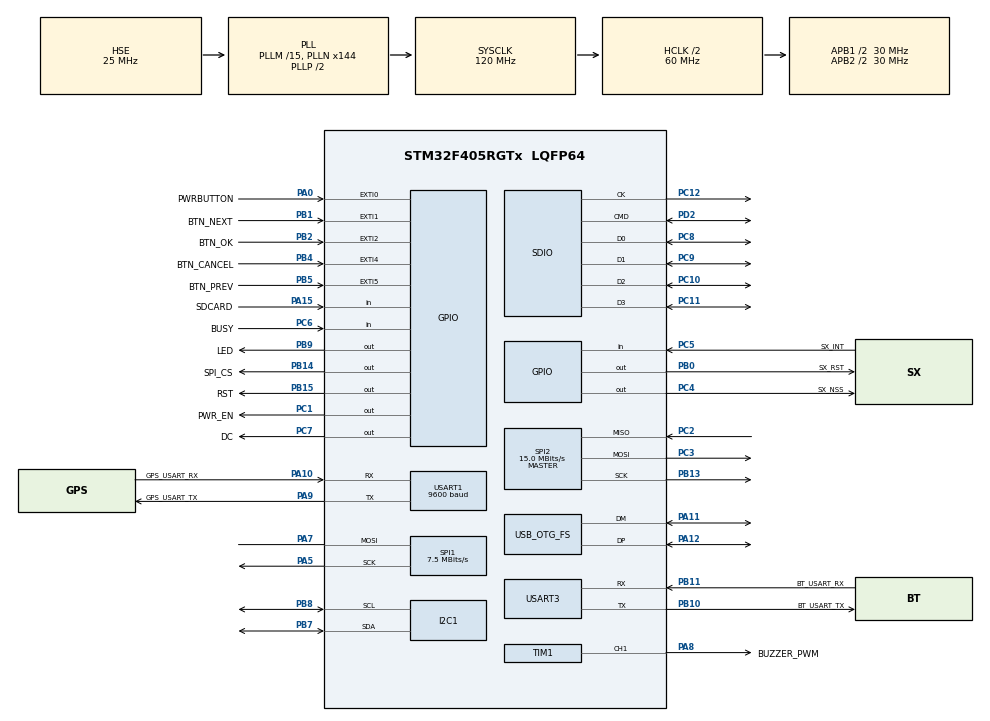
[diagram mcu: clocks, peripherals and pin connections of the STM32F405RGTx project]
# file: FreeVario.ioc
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ADC1.Channel-0\#ChannelRegularConversion=ADC_CHANNEL_VBAT
ADC1.ClockPrescaler=ADC_CLOCK_SYNC_PCLK_DIV2
ADC1.ContinuousConvMode=ENABLE
ADC1.EOCSelection=ADC_EOC_SEQ_CONV
ADC1.InjNumberOfConversion=0
ADC1.NbrOfConversionFlag=1
ADC1.Rank-0\#ChannelRegularConversion=1
ADC1.SamplingTime-0\#ChannelRegularConversion=ADC_SAMPLETIME_3CYCLES
ADC1.master=1
Dma.Request0=USART3_TX
Dma.Request1=SDIO_RX
Dma.Request2=SDIO_TX
Dma.Request3=USART1_RX
Dma.SDIO_RX.1.Direction=DMA_PERIPH_TO_MEMORY
Dma.SDIO_RX.1.FIFOMode=DMA_FIFOMODE_ENABLE
Dma.SDIO_RX.1.FIFOThreshold=DMA_FIFO_THRESHOLD_FULL
Dma.SDIO_RX.1.Instance=DMA2_Stream3
Dma.SDIO_RX.1.MemBurst=DMA_MBURST_INC4
Dma.SDIO_RX.1.MemDataAlignment=DMA_MDATAALIGN_WORD
Dma.SDIO_RX.1.MemInc=DMA_MINC_ENABLE
Dma.SDIO_RX.1.Mode=DMA_PFCTRL
Dma.SDIO_RX.1.PeriphBurst=DMA_PBURST_INC4
Dma.SDIO_RX.1.PeriphDataAlignment=DMA_PDATAALIGN_WORD
Dma.SDIO_RX.1.PeriphInc=DMA_PINC_DISABLE
Dma.SDIO_RX.1.Priority=DMA_PRIORITY_LOW
Dma.SDIO_TX.2.Direction=DMA_MEMORY_TO_PERIPH
Dma.SDIO_TX.2.FIFOMode=DMA_FIFOMODE_ENABLE
Dma.SDIO_TX.2.FIFOThreshold=DMA_FIFO_THRESHOLD_FULL
Dma.SDIO_TX.2.Instance=DMA2_Stream6
Dma.SDIO_TX.2.MemBurst=DMA_MBURST_INC4
Dma.SDIO_TX.2.MemDataAlignment=DMA_MDATAALIGN_WORD
Dma.SDIO_TX.2.MemInc=DMA_MINC_ENABLE
Dma.SDIO_TX.2.Mode=DMA_PFCTRL
Dma.SDIO_TX.2.PeriphBurst=DMA_PBURST_INC4
Dma.SDIO_TX.2.PeriphDataAlignment=DMA_PDATAALIGN_WORD
Dma.SDIO_TX.2.PeriphInc=DMA_PINC_DISABLE
Dma.SDIO_TX.2.Priority=DMA_PRIORITY_LOW
Dma.USART1_RX.3.Direction=DMA_PERIPH_TO_MEMORY
Dma.USART1_RX.3.FIFOMode=DMA_FIFOMODE_DISABLE
Dma.USART1_RX.3.Instance=DMA2_Stream2
Dma.USART1_RX.3.MemDataAlignment=DMA_MDATAALIGN_BYTE
Dma.USART1_RX.3.MemInc=DMA_MINC_ENABLE
Dma.USART1_RX.3.Mode=DMA_NORMAL
Dma.USART1_RX.3.PeriphDataAlignment=DMA_PDATAALIGN_BYTE
Dma.USART1_RX.3.PeriphInc=DMA_PINC_DISABLE
Dma.USART1_RX.3.Priority=DMA_PRIORITY_LOW
Dma.USART3_TX.0.Direction=DMA_MEMORY_TO_PERIPH
Dma.USART3_TX.0.FIFOMode=DMA_FIFOMODE_DISABLE
Dma.USART3_TX.0.Instance=DMA1_Stream3
Dma.USART3_TX.0.MemDataAlignment=DMA_MDATAALIGN_BYTE
Dma.USART3_TX.0.MemInc=DMA_MINC_ENABLE
Dma.USART3_TX.0.Mode=DMA_NORMAL
Dma.USART3_TX.0.PeriphDataAlignment=DMA_PDATAALIGN_BYTE
Dma.USART3_TX.0.PeriphInc=DMA_PINC_DISABLE
Dma.USART3_TX.0.Priority=DMA_PRIORITY_LOW
FATFS.BSP.number=1
FATFS._FS_LOCK=5
FATFS._USE_LFN=3
FATFS0.BSP.STBoard=false
FATFS0.BSP.api=Unknown
FATFS0.BSP.i2caddr=0
FATFS0.BSP.instance=PA15
FATFS0.BSP.ip=GPIO
FATFS0.BSP.mode=Input
FATFS0.BSP.name=Detect_SDIO
FATFS0.BSP.solution=PA15
FREERTOS.INCLUDE_vTaskDelayUntil=1
FREERTOS.Tasks01=defaultTask,0,1024,StartDefaultTask,As weak,NULL,Dynamic,NULL,NULL
FREERTOS.configMINIMAL_STACK_SIZE=2048
FREERTOS.configTICK_RATE_HZ=1000
FREERTOS.configTOTAL_HEAP_SIZE=84000
I2C1.I2C_Mode=I2C_Fast
Mcu.Family=STM32F4
Mcu.Name=STM32F405RGTx
Mcu.Package=LQFP64
NVIC.DMA1_Stream3_IRQn=true\:5\:0\:false\:false\:true\:true\:false
NVIC.DMA2_Stream2_IRQn=true\:5\:0\:false\:false\:true\:true\:false
NVIC.DMA2_Stream3_IRQn=true\:5\:0\:false\:false\:true\:true\:false
NVIC.DMA2_Stream6_IRQn=true\:5\:0\:false\:false\:true\:true\:false
NVIC.EXTI0_IRQn=true\:5\:0\:false\:false\:true\:true\:true
NVIC.EXTI1_IRQn=true\:5\:0\:false\:false\:true\:true\:true
NVIC.EXTI2_IRQn=true\:5\:0\:false\:false\:true\:true\:true
NVIC.EXTI4_IRQn=true\:5\:0\:false\:false\:true\:true\:true
NVIC.EXTI9_5_IRQn=true\:5\:0\:false\:false\:true\:true\:true
NVIC.OTG_FS_IRQn=true\:5\:0\:false\:false\:true\:true\:false
NVIC.PriorityGroup=NVIC_PRIORITYGROUP_4
NVIC.SDIO_IRQn=true\:5\:0\:false\:false\:true\:true\:true
NVIC.TIM1_UP_TIM10_IRQn=true\:0\:0\:false\:false\:true\:false\:false
NVIC.TIM5_IRQn=true\:0\:0\:false\:false\:true\:false\:false
NVIC.TimeBase=TIM5_IRQn
NVIC.TimeBaseIP=TIM5
NVIC.USART1_IRQn=true\:5\:0\:false\:false\:true\:true\:true
NVIC.USART3_IRQn=true\:5\:0\:false\:false\:true\:true\:true
PA0-WKUP.GPIO_Label=PWRBUTTON
PA0-WKUP.Signal=GPXTI0
PA10.GPIO_Label=GPS_USART_RX
PA10.Mode=Asynchronous
PA10.Signal=USART1_RX
PA11.Mode=Device_Only
PA11.Signal=USB_OTG_FS_DM
PA12.Mode=Device_Only
PA12.Signal=USB_OTG_FS_DP
PA13.Mode=Serial_Wire
PA13.Signal=SYS_JTMS-SWDIO
PA14.Mode=Serial_Wire
PA14.Signal=SYS_JTCK-SWCLK
PA15.GPIO_Label=SDCARD
PA15.Signal=GPIO_Input
PA5.Mode=Simplex_Bidirectional_Master
PA5.Signal=SPI1_SCK
PA7.Mode=Simplex_Bidirectional_Master
PA7.Signal=SPI1_MOSI
PA8.GPIO_Label=BUZZER_PWM
PA8.GPIO_PuPd=GPIO_NOPULL
PA8.Signal=S_TIM1_CH1
PA9.GPIO_Label=GPS_USART_TX
PA9.Mode=Asynchronous
PA9.Signal=USART1_TX
PB0.GPIO_Label=SX_RST
PB0.PinState=GPIO_PIN_SET
PB0.Signal=GPIO_Output
PB1.GPIO_Label=BTN_NEXT
PB1.Signal=GPXTI1
PB10.GPIO_Label=BT_USART_TX
PB10.Mode=Asynchronous
PB10.Signal=USART3_TX
PB11.GPIO_Label=BT_USART_RX
PB11.Mode=Asynchronous
PB11.Signal=USART3_RX
PB13.Mode=Full_Duplex_Master
PB13.Signal=SPI2_SCK
PB14.GPIO_Label=SPI_CS
PB14.Signal=GPIO_Output
PB15.GPIO_Label=RST
PB15.Signal=GPIO_Output
PB2.GPIO_Label=BTN_OK
PB2.Signal=GPXTI2
PB4.GPIO_Label=BTN_CANCEL
PB4.Signal=GPXTI4
PB5.GPIO_Label=BTN_PREV
PB5.Signal=GPXTI5
PB7.Mode=I2C
PB7.Signal=I2C1_SDA
PB8.Mode=I2C
PB8.Signal=I2C1_SCL
PB9.GPIO_Label=LED
PB9.Signal=GPIO_Output
PC1.GPIO_Label=PWR_EN
PC1.GPIO_ModeDefaultOutputPP=GPIO_MODE_OUTPUT_PP
PC1.GPIO_PuPd=GPIO_PULLUP
PC1.PinState=GPIO_PIN_RESET
PC1.Signal=GPIO_Output
PC10.Mode=SD_4_bits_Wide_bus
PC10.Signal=SDIO_D2
PC11.Mode=SD_4_bits_Wide_bus
PC11.Signal=SDIO_D3
PC12.Mode=SD_4_bits_Wide_bus
PC12.Signal=SDIO_CK
PC14-OSC32_IN.Mode=LSE-External-Oscillator
PC14-OSC32_IN.Signal=RCC_OSC32_IN
PC15-OSC32_OUT.Mode=LSE-External-Oscillator
PC15-OSC32_OUT.Signal=RCC_OSC32_OUT
PC2.Mode=Full_Duplex_Master
PC2.Signal=SPI2_MISO
PC3.Mode=Full_Duplex_Master
PC3.Signal=SPI2_MOSI
PC4.GPIO_Label=SX_NSS
PC4.GPIO_PuPd=GPIO_NOPULL
PC4.PinState=GPIO_PIN_RESET
PC4.Signal=GPIO_Output
PC5.GPIO_Label=SX_INT
PC5.Signal=GPIO_Input
PC6.GPIO_Label=BUSY
PC6.Signal=GPIO_Input
PC7.GPIO_Label=DC
PC7.Signal=GPIO_Output
PC8.GPIO_PuPd=GPIO_PULLUP
PC8.Mode=SD_4_bits_Wide_bus
PC8.Signal=SDIO_D0
PC9.Mode=SD_4_bits_Wide_bus
PC9.Signal=SDIO_D1
PD2.GPIO_PuPd=GPIO_PULLUP
PD2.Mode=SD_4_bits_Wide_bus
PD2.Signal=SDIO_CMD
PH0-OSC_IN.Mode=HSE-External-Oscillator
PH0-OSC_IN.Signal=RCC_OSC_IN
PH1-OSC_OUT.Mode=HSE-External-Oscillator
PH1-OSC_OUT.Signal=RCC_OSC_OUT
ProjectManager.HeapSize=0x4000
ProjectManager.StackSize=0x800
ProjectManager.TargetToolchain=TrueSTUDIO
RCC.48MHZClocksFreq_Value=48000000
RCC.AHBCLKDivider=RCC_SYSCLK_DIV2
RCC.AHBFreq_Value=60000000
RCC.APB1CLKDivider=RCC_HCLK_DIV2
RCC.APB1Freq_Value=30000000
RCC.APB1TimFreq_Value=60000000
RCC.APB2CLKDivider=RCC_HCLK_DIV2
RCC.APB2Freq_Value=30000000
RCC.APB2TimFreq_Value=60000000
RCC.CortexFreq_Value=60000000
RCC.HCLKFreq_Value=60000000
RCC.HSE_VALUE=25000000
RCC.HSI_VALUE=16000000
RCC.PLLI2SN=50
RCC.PLLM=15
RCC.PLLN=144
RCC.PLLQ=5
RCC.RCC_RTC_Clock_Source=RCC_RTCCLKSOURCE_LSI
RCC.RCC_RTC_Clock_SourceVirtual=RCC_RTCCLKSOURCE_LSE
RCC.SYSCLKFreq_VALUE=120000000
RCC.SYSCLKSource=RCC_SYSCLKSOURCE_PLLCLK
RCC.VCOOutputFreq_Value=240000000
RTC.Hours=17
RTC.Minutes=20
RTC.Month=RTC_MONTH_FEBRUARY
RTC.StoreOperation=RTC_STOREOPERATION_SET
RTC.Year=19
SH.S_TIM1_CH1.0=TIM1_CH1,PWM Generation1 CH1
SPI1.BaudRatePrescaler=SPI_BAUDRATEPRESCALER_4
SPI1.CalculateBaudRate=7.5 MBits/s
SPI1.Direction=SPI_DIRECTION_1LINE
SPI1.Mode=SPI_MODE_MASTER
SPI1.VirtualType=VM_MASTER
SPI2.BaudRatePrescaler=SPI_BAUDRATEPRESCALER_2
SPI2.CalculateBaudRate=15.0 MBits/s
SPI2.Direction=SPI_DIRECTION_2LINES
SPI2.Mode=SPI_MODE_MASTER
SPI2.VirtualType=VM_MASTER
TIM1.BreakPolarity=TIM_BREAKPOLARITY_HIGH
TIM1.Channel-PWM\ Generation1\ CH1=TIM_CHANNEL_1
TIM1.OCIdleState_1=TIM_OCIDLESTATE_RESET
TIM1.OCPolarity_1=TIM_OCPOLARITY_HIGH
USART1.BaudRate=9600
USART1.VirtualMode=VM_ASYNC
USART3.VirtualMode=VM_ASYNC
USB_DEVICE.CLASS_NAME_FS=CDC
USB_DEVICE.VirtualMode-CDC_FS=Cdc
USB_DEVICE.VirtualModeFS=Cdc_FS
USB_OTG_FS.VirtualMode=Device_Only
VP_ADC1_Vbat_Input.Mode=IN-Vbat
VP_FATFS_VS_SDIO.Mode=SDIO
VP_FREERTOS_VS_ENABLE.Mode=Enabled
VP_RTC_VS_RTC_Activate.Mode=RTC_Enabled
VP_RTC_VS_RTC_Calendar.Mode=RTC_Calendar
VP_SYS_VS_tim5.Mode=TIM5
VP_TIM1_VS_ClockSourceINT.Mode=Internal
VP_TIM1_VS_ClockSourceITR.Mode=TriggerSource_ITR0
VP_USB_DEVICE_VS_USB_DEVICE_CDC_FS.Mode=CDC_FS
VP_WWDG_VS_WWDG.Mode=WWDG_Activate
WWDG.Counter=127
WWDG.Prescaler=WWDG_PRESCALER_8
WWDG.Window=127
board=custom

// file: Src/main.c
/* USER CODE BEGIN Header */
/**
  * @brief  Function implementing the defaultTask thread.
  * @param  argument: Not used
  * @retval None
  */
/* USER CODE END Header */

#include "main.h"
#include "cmsis_os.h"
#include "fatfs.h"
#include "usb_device.h"

/* USER CODE BEGIN Includes */
#include "freevario.h"
/* USER CODE END Includes */

ADC_HandleTypeDef hadc1;

I2C_HandleTypeDef hi2c1;

RTC_HandleTypeDef hrtc;

SD_HandleTypeDef hsd;
DMA_HandleTypeDef hdma_sdio_rx;
DMA_HandleTypeDef hdma_sdio_tx;

SPI_HandleTypeDef hspi1;
SPI_HandleTypeDef hspi2;

TIM_HandleTypeDef htim1;

UART_HandleTypeDef huart1;
UART_HandleTypeDef huart3;
DMA_HandleTypeDef hdma_usart1_rx;
DMA_HandleTypeDef hdma_usart3_tx;

WWDG_HandleTypeDef hwwdg;

osThreadId defaultTaskHandle;
/* USER CODE BEGIN PV */
/* Private variables ---------------------------------------------------------*/

/* USER CODE END PV */

void SystemClock_Config(void);
static void MX_GPIO_Init(void);
static void MX_DMA_Init(void);
static void MX_USART3_UART_Init(void);
static void MX_SPI1_Init(void);
static void MX_SPI2_Init(void);
static void MX_I2C1_Init(void);
static void MX_SDIO_SD_Init(void);
static void MX_USART1_UART_Init(void);
static void MX_TIM1_Init(void);
static void MX_RTC_Init(void);
static void MX_ADC1_Init(void);
static void MX_WWDG_Init(void);
void StartDefaultTask(void const * argument);

/* USER CODE BEGIN PFP */
/* Private function prototypes -----------------------------------------------*/

/* USER CODE END PFP */

int main(void)
{

  /* MCU Configuration--------------------------------------------------------*/

  /* Reset of all peripherals, Initializes the Flash interface and the Systick. */
  HAL_Init();

  /* Configure the system clock */
  SystemClock_Config();

  /* USER CODE BEGIN SysInit */
//After using generate code in cubeMX, add this after GPIO_INIT :   HAL_Delay(100);

  MX_GPIO_Init();
  HAL_Delay(100);
  MX_DMA_Init();
  MX_USART3_UART_Init();
  MX_SPI1_Init();
  MX_SPI2_Init();
  MX_I2C1_Init();
  MX_SDIO_SD_Init();
  MX_USART1_UART_Init();
  MX_TIM1_Init();
  MX_RTC_Init();
  MX_ADC1_Init();

  /* USER CODE END SysInit */

  /* Initialize all configured peripherals */
  /* USER CODE BEGIN 2 */
#ifndef  DEBUG_MODE
  /*Disable RTC tamper*/

  HAL_RTCEx_DeactivateTamper(&hrtc, RTC_TAMPER_1);
  __HAL_RTC_TAMPER_CLEAR_FLAG(&hrtc, RTC_FLAG_TAMP1F);
  __HAL_RTC_WRITEPROTECTION_DISABLE(&hrtc);
  HAL_PWR_EnableBkUpAccess();

 /*
  * Bug fix for pwr button
  * Button must be held in for 3 seconds to powerup
  */

    uint32_t extRequest = HAL_RTCEx_BKUPRead(&hrtc, 0);

    /*check if the shutdown was proper */
    /*if not, continue startup in case of a wwdg reset*/
    if (extRequest == 3) { //had normal shutdown
        HAL_Delay(PWRBUTTONDELAY);
        if (HAL_GPIO_ReadPin(PWRBUTTON_GPIO_Port, PWRBUTTON_Pin)
                == GPIO_PIN_RESET) {
            StandbyMode();
        }

        /*Clear the proper shutdown flag */
        HAL_RTCEx_BKUPWrite(&hrtc, 0, 1); //do normal startup

    } else {
        HAL_RTCEx_BKUPWrite(&hrtc, 0, 2); //unexpected restart
    }

#endif

#ifndef  DEBUG_MODE
  MX_WWDG_Init();
#endif

//Support for previous model that uses NPN transistor for the buzzer
  //TODO: read cpu serial as a switch

#ifdef FV_NPN_CHECK

  if ((STM32_UUID[2]) == 825503794) { //Id of the 1 board that needs this

        //char buff[30];
        //sprintf(buff, "serial %d \r\n", idPart3);
        //CDC_Transmit_FS(buff, 30);

        TIM_OC_InitTypeDef sConfigOC = { 0 };
        sConfigOC.OCMode = TIM_OCMODE_PWM1;
        sConfigOC.Pulse = 0;
        sConfigOC.OCPolarity = TIM_OCPOLARITY_LOW;
        sConfigOC.OCNPolarity = TIM_OCNPOLARITY_LOW;
        sConfigOC.OCFastMode = TIM_OCFAST_DISABLE;
        sConfigOC.OCIdleState = TIM_OCIDLESTATE_RESET;
        sConfigOC.OCNIdleState = TIM_OCNIDLESTATE_RESET;
        if (HAL_TIM_PWM_ConfigChannel(&htim1, &sConfigOC, TIM_CHANNEL_1)
                != HAL_OK) {
            Error_Handler();
        }

    }

#endif
  /* USER CODE END 2 */

  /* Create the thread(s) */
  /* definition and creation of defaultTask */
  osThreadDef(defaultTask, StartDefaultTask, osPriorityNormal, 0, 1024);
  defaultTaskHandle = osThreadCreate(osThread(defaultTask), NULL);

  /* USER CODE BEGIN RTOS_THREADS */
  /* add threads, ... */

  freeVario_RTOS_Init();

  /* USER CODE END RTOS_THREADS */

  /* Start scheduler */
  osKernelStart();

  /* We should never get here as control is now taken by the scheduler */

  /* Infinite loop */
  while (1)
  {

  }
}

void SystemClock_Config(void)
{
  RCC_OscInitTypeDef RCC_OscInitStruct = {0};
  RCC_ClkInitTypeDef RCC_ClkInitStruct = {0};
  RCC_PeriphCLKInitTypeDef PeriphClkInitStruct = {0};

  /**Configure the main internal regulator output voltage
  */
  __HAL_RCC_PWR_CLK_ENABLE();
  __HAL_PWR_VOLTAGESCALING_CONFIG(PWR_REGULATOR_VOLTAGE_SCALE1);
  /**Initializes the CPU, AHB and APB busses clocks
  */
  RCC_OscInitStruct.OscillatorType = RCC_OSCILLATORTYPE_LSI|RCC_OSCILLATORTYPE_HSE;
  RCC_OscInitStruct.HSEState = RCC_HSE_ON;
  RCC_OscInitStruct.LSIState = RCC_LSI_ON;
  RCC_OscInitStruct.PLL.PLLState = RCC_PLL_ON;
  RCC_OscInitStruct.PLL.PLLSource = RCC_PLLSOURCE_HSE;
  RCC_OscInitStruct.PLL.PLLM = 15;
  RCC_OscInitStruct.PLL.PLLN = 144;
  RCC_OscInitStruct.PLL.PLLP = RCC_PLLP_DIV2;
  RCC_OscInitStruct.PLL.PLLQ = 5;
  if (HAL_RCC_OscConfig(&RCC_OscInitStruct) != HAL_OK)
  {
    Error_Handler();
  }
  /**Initializes the CPU, AHB and APB busses clocks
  */
  RCC_ClkInitStruct.ClockType = RCC_CLOCKTYPE_HCLK|RCC_CLOCKTYPE_SYSCLK
                              |RCC_CLOCKTYPE_PCLK1|RCC_CLOCKTYPE_PCLK2;
  RCC_ClkInitStruct.SYSCLKSource = RCC_SYSCLKSOURCE_PLLCLK;
  RCC_ClkInitStruct.AHBCLKDivider = RCC_SYSCLK_DIV2;
  RCC_ClkInitStruct.APB1CLKDivider = RCC_HCLK_DIV2;
  RCC_ClkInitStruct.APB2CLKDivider = RCC_HCLK_DIV2;

  if (HAL_RCC_ClockConfig(&RCC_ClkInitStruct, FLASH_LATENCY_1) != HAL_OK)
  {
    Error_Handler();
  }
  PeriphClkInitStruct.PeriphClockSelection = RCC_PERIPHCLK_RTC;
  PeriphClkInitStruct.RTCClockSelection = RCC_RTCCLKSOURCE_LSI;
  if (HAL_RCCEx_PeriphCLKConfig(&PeriphClkInitStruct) != HAL_OK)
  {
    Error_Handler();
  }
}

static void MX_ADC1_Init(void)
{

  ADC_ChannelConfTypeDef sConfig = {0};

  /**Configure the global features of the ADC (Clock, Resolution, Data Alignment and number of conversion)
  */
  hadc1.Instance = ADC1;
  hadc1.Init.ClockPrescaler = ADC_CLOCK_SYNC_PCLK_DIV2;
  hadc1.Init.Resolution = ADC_RESOLUTION_12B;
  hadc1.Init.ScanConvMode = DISABLE;
  hadc1.Init.ContinuousConvMode = ENABLE;
  hadc1.Init.DiscontinuousConvMode = DISABLE;
  hadc1.Init.ExternalTrigConvEdge = ADC_EXTERNALTRIGCONVEDGE_NONE;
  hadc1.Init.ExternalTrigConv = ADC_SOFTWARE_START;
  hadc1.Init.DataAlign = ADC_DATAALIGN_RIGHT;
  hadc1.Init.NbrOfConversion = 1;
  hadc1.Init.DMAContinuousRequests = DISABLE;
  hadc1.Init.EOCSelection = ADC_EOC_SEQ_CONV;
  if (HAL_ADC_Init(&hadc1) != HAL_OK)
  {
    Error_Handler();
  }
  /**Configure for the selected ADC regular channel its corresponding rank in the sequencer and its sample time.
  */
  sConfig.Channel = ADC_CHANNEL_VBAT;
  sConfig.Rank = 1;
  sConfig.SamplingTime = ADC_SAMPLETIME_3CYCLES;
  if (HAL_ADC_ConfigChannel(&hadc1, &sConfig) != HAL_OK)
  {
    Error_Handler();
  }

}

static void MX_I2C1_Init(void)
{

  hi2c1.Instance = I2C1;
  hi2c1.Init.ClockSpeed = 400000;
  hi2c1.Init.DutyCycle = I2C_DUTYCYCLE_2;
  hi2c1.Init.OwnAddress1 = 0;
  hi2c1.Init.AddressingMode = I2C_ADDRESSINGMODE_7BIT;
  hi2c1.Init.DualAddressMode = I2C_DUALADDRESS_DISABLE;
  hi2c1.Init.OwnAddress2 = 0;
  hi2c1.Init.GeneralCallMode = I2C_GENERALCALL_DISABLE;
  hi2c1.Init.NoStretchMode = I2C_NOSTRETCH_DISABLE;
  if (HAL_I2C_Init(&hi2c1) != HAL_OK)
  {
    Error_Handler();
  }

}

static void MX_RTC_Init(void)
{

  RTC_TimeTypeDef sTime = {0};
  RTC_DateTypeDef sDate = {0};

  /**Initialize RTC Only
  */
  hrtc.Instance = RTC;
  hrtc.Init.HourFormat = RTC_HOURFORMAT_24;
  hrtc.Init.AsynchPrediv = 127;
  hrtc.Init.SynchPrediv = 255;
  hrtc.Init.OutPut = RTC_OUTPUT_DISABLE;
  hrtc.Init.OutPutPolarity = RTC_OUTPUT_POLARITY_HIGH;
  hrtc.Init.OutPutType = RTC_OUTPUT_TYPE_OPENDRAIN;
  if (HAL_RTC_Init(&hrtc) != HAL_OK)
  {
    Error_Handler();
  }

  /**Initialize RTC and set the Time and Date
  */
  sTime.Hours = 0x17;
  sTime.Minutes = 0x20;
  sTime.Seconds = 0x0;
  sTime.DayLightSaving = RTC_DAYLIGHTSAVING_NONE;
  sTime.StoreOperation = RTC_STOREOPERATION_SET;
  if (HAL_RTC_SetTime(&hrtc, &sTime, RTC_FORMAT_BCD) != HAL_OK)
  {
    Error_Handler();
  }
  sDate.WeekDay = RTC_WEEKDAY_MONDAY;
  sDate.Month = RTC_MONTH_FEBRUARY;
  sDate.Date = 0x1;
  sDate.Year = 0x19;

  if (HAL_RTC_SetDate(&hrtc, &sDate, RTC_FORMAT_BCD) != HAL_OK)
  {
    Error_Handler();
  }

}

static void MX_SDIO_SD_Init(void)
{

  hsd.Instance = SDIO;
  hsd.Init.ClockEdge = SDIO_CLOCK_EDGE_RISING;
  hsd.Init.ClockBypass = SDIO_CLOCK_BYPASS_DISABLE;
  hsd.Init.ClockPowerSave = SDIO_CLOCK_POWER_SAVE_DISABLE;
  hsd.Init.BusWide = SDIO_BUS_WIDE_1B;
  hsd.Init.HardwareFlowControl = SDIO_HARDWARE_FLOW_CONTROL_DISABLE;
  hsd.Init.ClockDiv = 0;

}

static void MX_SPI1_Init(void)
{

  /* SPI1 parameter configuration*/
  hspi1.Instance = SPI1;
  hspi1.Init.Mode = SPI_MODE_MASTER;
  hspi1.Init.Direction = SPI_DIRECTION_1LINE;
  hspi1.Init.DataSize = SPI_DATASIZE_8BIT;
  hspi1.Init.CLKPolarity = SPI_POLARITY_LOW;
  hspi1.Init.CLKPhase = SPI_PHASE_1EDGE;
  hspi1.Init.NSS = SPI_NSS_SOFT;
  hspi1.Init.BaudRatePrescaler = SPI_BAUDRATEPRESCALER_4;
  hspi1.Init.FirstBit = SPI_FIRSTBIT_MSB;
  hspi1.Init.TIMode = SPI_TIMODE_DISABLE;
  hspi1.Init.CRCCalculation = SPI_CRCCALCULATION_DISABLE;
  hspi1.Init.CRCPolynomial = 10;
  if (HAL_SPI_Init(&hspi1) != HAL_OK)
  {
    Error_Handler();
  }

}

static void MX_SPI2_Init(void)
{

  /* SPI2 parameter configuration*/
  hspi2.Instance = SPI2;
  hspi2.Init.Mode = SPI_MODE_MASTER;
  hspi2.Init.Direction = SPI_DIRECTION_2LINES;
  hspi2.Init.DataSize = SPI_DATASIZE_8BIT;
  hspi2.Init.CLKPolarity = SPI_POLARITY_LOW;
  hspi2.Init.CLKPhase = SPI_PHASE_1EDGE;
  hspi2.Init.NSS = SPI_NSS_SOFT;
  hspi2.Init.BaudRatePrescaler = SPI_BAUDRATEPRESCALER_2;
  hspi2.Init.FirstBit = SPI_FIRSTBIT_MSB;
  hspi2.Init.TIMode = SPI_TIMODE_DISABLE;
  hspi2.Init.CRCCalculation = SPI_CRCCALCULATION_DISABLE;
  hspi2.Init.CRCPolynomial = 10;
  if (HAL_SPI_Init(&hspi2) != HAL_OK)
  {
    Error_Handler();
  }

}

static void MX_TIM1_Init(void)
{

  TIM_ClockConfigTypeDef sClockSourceConfig = {0};
  TIM_SlaveConfigTypeDef sSlaveConfig = {0};
  TIM_MasterConfigTypeDef sMasterConfig = {0};
  TIM_OC_InitTypeDef sConfigOC = {0};
  TIM_BreakDeadTimeConfigTypeDef sBreakDeadTimeConfig = {0};

  htim1.Instance = TIM1;
  htim1.Init.Prescaler = 0;
  htim1.Init.CounterMode = TIM_COUNTERMODE_UP;
  htim1.Init.Period = 0;
  htim1.Init.ClockDivision = TIM_CLOCKDIVISION_DIV1;
  htim1.Init.RepetitionCounter = 0;
  if (HAL_TIM_Base_Init(&htim1) != HAL_OK)
  {
    Error_Handler();
  }
  sClockSourceConfig.ClockSource = TIM_CLOCKSOURCE_INTERNAL;
  if (HAL_TIM_ConfigClockSource(&htim1, &sClockSourceConfig) != HAL_OK)
  {
    Error_Handler();
  }
  if (HAL_TIM_PWM_Init(&htim1) != HAL_OK)
  {
    Error_Handler();
  }
  sSlaveConfig.SlaveMode = TIM_SLAVEMODE_DISABLE;
  sSlaveConfig.InputTrigger = TIM_TS_ITR0;
  if (HAL_TIM_SlaveConfigSynchronization(&htim1, &sSlaveConfig) != HAL_OK)
  {
    Error_Handler();
  }
  sMasterConfig.MasterOutputTrigger = TIM_TRGO_RESET;
  sMasterConfig.MasterSlaveMode = TIM_MASTERSLAVEMODE_DISABLE;
  if (HAL_TIMEx_MasterConfigSynchronization(&htim1, &sMasterConfig) != HAL_OK)
  {
    Error_Handler();
  }
  sConfigOC.OCMode = TIM_OCMODE_PWM1;
  sConfigOC.Pulse = 0;
  sConfigOC.OCPolarity = TIM_OCPOLARITY_HIGH;
  sConfigOC.OCNPolarity = TIM_OCNPOLARITY_HIGH;
  sConfigOC.OCFastMode = TIM_OCFAST_DISABLE;
  sConfigOC.OCIdleState = TIM_OCIDLESTATE_RESET;
  sConfigOC.OCNIdleState = TIM_OCNIDLESTATE_RESET;
  if (HAL_TIM_PWM_ConfigChannel(&htim1, &sConfigOC, TIM_CHANNEL_1) != HAL_OK)
  {
    Error_Handler();
  }
  sBreakDeadTimeConfig.OffStateRunMode = TIM_OSSR_DISABLE;
  sBreakDeadTimeConfig.OffStateIDLEMode = TIM_OSSI_DISABLE;
  sBreakDeadTimeConfig.LockLevel = TIM_LOCKLEVEL_OFF;
  sBreakDeadTimeConfig.DeadTime = 0;
  sBreakDeadTimeConfig.BreakState = TIM_BREAK_DISABLE;
  sBreakDeadTimeConfig.BreakPolarity = TIM_BREAKPOLARITY_HIGH;
  sBreakDeadTimeConfig.AutomaticOutput = TIM_AUTOMATICOUTPUT_DISABLE;
  if (HAL_TIMEx_ConfigBreakDeadTime(&htim1, &sBreakDeadTimeConfig) != HAL_OK)
  {
    Error_Handler();
  }
  HAL_TIM_MspPostInit(&htim1);

}

static void MX_USART1_UART_Init(void)
{

  huart1.Instance = USART1;
  huart1.Init.BaudRate = 9600;
  huart1.Init.WordLength = UART_WORDLENGTH_8B;
  huart1.Init.StopBits = UART_STOPBITS_1;
  huart1.Init.Parity = UART_PARITY_NONE;
  huart1.Init.Mode = UART_MODE_TX_RX;
  huart1.Init.HwFlowCtl = UART_HWCONTROL_NONE;
  huart1.Init.OverSampling = UART_OVERSAMPLING_16;
  if (HAL_UART_Init(&huart1) != HAL_OK)
  {
    Error_Handler();
  }

}

static void MX_USART3_UART_Init(void)
{

  huart3.Instance = USART3;
  huart3.Init.BaudRate = 115200;
  huart3.Init.WordLength = UART_WORDLENGTH_8B;
  huart3.Init.StopBits = UART_STOPBITS_1;
  huart3.Init.Parity = UART_PARITY_NONE;
  huart3.Init.Mode = UART_MODE_TX_RX;
  huart3.Init.HwFlowCtl = UART_HWCONTROL_NONE;
  huart3.Init.OverSampling = UART_OVERSAMPLING_16;
  if (HAL_UART_Init(&huart3) != HAL_OK)
  {
    Error_Handler();
  }

}

static void MX_WWDG_Init(void)
{

  hwwdg.Instance = WWDG;
  hwwdg.Init.Prescaler = WWDG_PRESCALER_8;
  hwwdg.Init.Window = 127;
  hwwdg.Init.Counter = 127;
  hwwdg.Init.EWIMode = WWDG_EWI_DISABLE;
  if (HAL_WWDG_Init(&hwwdg) != HAL_OK)
  {
    Error_Handler();
  }

}

static void MX_DMA_Init(void)
{
  /* DMA controller clock enable */
  __HAL_RCC_DMA1_CLK_ENABLE();
  __HAL_RCC_DMA2_CLK_ENABLE();

  /* DMA interrupt init */
  /* DMA1_Stream3_IRQn interrupt configuration */
  HAL_NVIC_SetPriority(DMA1_Stream3_IRQn, 5, 0);
  HAL_NVIC_EnableIRQ(DMA1_Stream3_IRQn);
  /* DMA2_Stream2_IRQn interrupt configuration */
  HAL_NVIC_SetPriority(DMA2_Stream2_IRQn, 5, 0);
  HAL_NVIC_EnableIRQ(DMA2_Stream2_IRQn);
  /* DMA2_Stream3_IRQn interrupt configuration */
  HAL_NVIC_SetPriority(DMA2_Stream3_IRQn, 5, 0);
  HAL_NVIC_EnableIRQ(DMA2_Stream3_IRQn);
  /* DMA2_Stream6_IRQn interrupt configuration */
  HAL_NVIC_SetPriority(DMA2_Stream6_IRQn, 5, 0);
  HAL_NVIC_EnableIRQ(DMA2_Stream6_IRQn);

}

static void MX_GPIO_Init(void)
{
  GPIO_InitTypeDef GPIO_InitStruct = {0};

  /* GPIO Ports Clock Enable */
  __HAL_RCC_GPIOC_CLK_ENABLE();
  __HAL_RCC_GPIOH_CLK_ENABLE();
  __HAL_RCC_GPIOA_CLK_ENABLE();
  __HAL_RCC_GPIOB_CLK_ENABLE();
  __HAL_RCC_GPIOD_CLK_ENABLE();

  /*Configure GPIO pin Output Level */
  HAL_GPIO_WritePin(GPIOC, PWR_EN_Pin|SX_NSS_Pin|DC_Pin, GPIO_PIN_RESET);

  /*Configure GPIO pin Output Level */
  HAL_GPIO_WritePin(SX_RST_GPIO_Port, SX_RST_Pin, GPIO_PIN_SET);

  /*Configure GPIO pin Output Level */
  HAL_GPIO_WritePin(GPIOB, SPI_CS_Pin|RST_Pin|LED_Pin, GPIO_PIN_RESET);

  /*Configure GPIO pins : PC13 PC0 */
  GPIO_InitStruct.Pin = GPIO_PIN_13|GPIO_PIN_0;
  GPIO_InitStruct.Mode = GPIO_MODE_ANALOG;
  GPIO_InitStruct.Pull = GPIO_NOPULL;
  HAL_GPIO_Init(GPIOC, &GPIO_InitStruct);

  /*Configure GPIO pin : PWR_EN_Pin */
  GPIO_InitStruct.Pin = PWR_EN_Pin;
  GPIO_InitStruct.Mode = GPIO_MODE_OUTPUT_PP;
  GPIO_InitStruct.Pull = GPIO_PULLUP;
  GPIO_InitStruct.Speed = GPIO_SPEED_FREQ_LOW;
  HAL_GPIO_Init(PWR_EN_GPIO_Port, &GPIO_InitStruct);

  /*Configure GPIO pin : PWRBUTTON_Pin */
  GPIO_InitStruct.Pin = PWRBUTTON_Pin;
  GPIO_InitStruct.Mode = GPIO_MODE_IT_RISING;
  GPIO_InitStruct.Pull = GPIO_NOPULL;
  HAL_GPIO_Init(PWRBUTTON_GPIO_Port, &GPIO_InitStruct);

  /*Configure GPIO pins : PA1 PA2 PA3 PA4
                           PA6 */
  GPIO_InitStruct.Pin = GPIO_PIN_1|GPIO_PIN_2|GPIO_PIN_3|GPIO_PIN_4
                          |GPIO_PIN_6;
  GPIO_InitStruct.Mode = GPIO_MODE_ANALOG;
  GPIO_InitStruct.Pull = GPIO_NOPULL;
  HAL_GPIO_Init(GPIOA, &GPIO_InitStruct);

  /*Configure GPIO pins : SX_NSS_Pin DC_Pin */
  GPIO_InitStruct.Pin = SX_NSS_Pin|DC_Pin;
  GPIO_InitStruct.Mode = GPIO_MODE_OUTPUT_PP;
  GPIO_InitStruct.Pull = GPIO_NOPULL;
  GPIO_InitStruct.Speed = GPIO_SPEED_FREQ_LOW;
  HAL_GPIO_Init(GPIOC, &GPIO_InitStruct);

  /*Configure GPIO pins : SX_INT_Pin BUSY_Pin */
  GPIO_InitStruct.Pin = SX_INT_Pin|BUSY_Pin;
  GPIO_InitStruct.Mode = GPIO_MODE_INPUT;
  GPIO_InitStruct.Pull = GPIO_NOPULL;
  HAL_GPIO_Init(GPIOC, &GPIO_InitStruct);

  /*Configure GPIO pins : SX_RST_Pin SPI_CS_Pin RST_Pin LED_Pin */
  GPIO_InitStruct.Pin = SX_RST_Pin|SPI_CS_Pin|RST_Pin|LED_Pin;
  GPIO_InitStruct.Mode = GPIO_MODE_OUTPUT_PP;
  GPIO_InitStruct.Pull = GPIO_NOPULL;
  GPIO_InitStruct.Speed = GPIO_SPEED_FREQ_LOW;
  HAL_GPIO_Init(GPIOB, &GPIO_InitStruct);

  /*Configure GPIO pins : BTN_NEXT_Pin BTN_OK_Pin BTN_CANCEL_Pin BTN_PREV_Pin */
  GPIO_InitStruct.Pin = BTN_NEXT_Pin|BTN_OK_Pin|BTN_CANCEL_Pin|BTN_PREV_Pin;
  GPIO_InitStruct.Mode = GPIO_MODE_IT_RISING;
  GPIO_InitStruct.Pull = GPIO_NOPULL;
  HAL_GPIO_Init(GPIOB, &GPIO_InitStruct);

  /*Configure GPIO pins : PB12 PB3 PB6 */
  GPIO_InitStruct.Pin = GPIO_PIN_12|GPIO_PIN_3|GPIO_PIN_6;
  GPIO_InitStruct.Mode = GPIO_MODE_ANALOG;
  GPIO_InitStruct.Pull = GPIO_NOPULL;
  HAL_GPIO_Init(GPIOB, &GPIO_InitStruct);

  /*Configure GPIO pin : SDCARD_Pin */
  GPIO_InitStruct.Pin = SDCARD_Pin;
  GPIO_InitStruct.Mode = GPIO_MODE_INPUT;
  GPIO_InitStruct.Pull = GPIO_NOPULL;
  HAL_GPIO_Init(SDCARD_GPIO_Port, &GPIO_InitStruct);

  /* EXTI interrupt init*/
  HAL_NVIC_SetPriority(EXTI0_IRQn, 5, 0);
  HAL_NVIC_EnableIRQ(EXTI0_IRQn);

  HAL_NVIC_SetPriority(EXTI1_IRQn, 5, 0);
  HAL_NVIC_EnableIRQ(EXTI1_IRQn);

  HAL_NVIC_SetPriority(EXTI2_IRQn, 5, 0);
  HAL_NVIC_EnableIRQ(EXTI2_IRQn);

  HAL_NVIC_SetPriority(EXTI4_IRQn, 5, 0);
  HAL_NVIC_EnableIRQ(EXTI4_IRQn);

  HAL_NVIC_SetPriority(EXTI9_5_IRQn, 5, 0);
  HAL_NVIC_EnableIRQ(EXTI9_5_IRQn);

}

__weak void StartDefaultTask(void const * argument)
{

  for(;;)
  {
    osDelay(1);
  }
}

void HAL_TIM_PeriodElapsedCallback(TIM_HandleTypeDef *htim)
{
  if (htim->Instance == TIM5) {
    HAL_IncTick();
  }
}

void Error_Handler(void)
{
  while(1)
  {
  }
}

/************************ (C) COPYRIGHT STMicroelectronics *****END OF FILE****/
